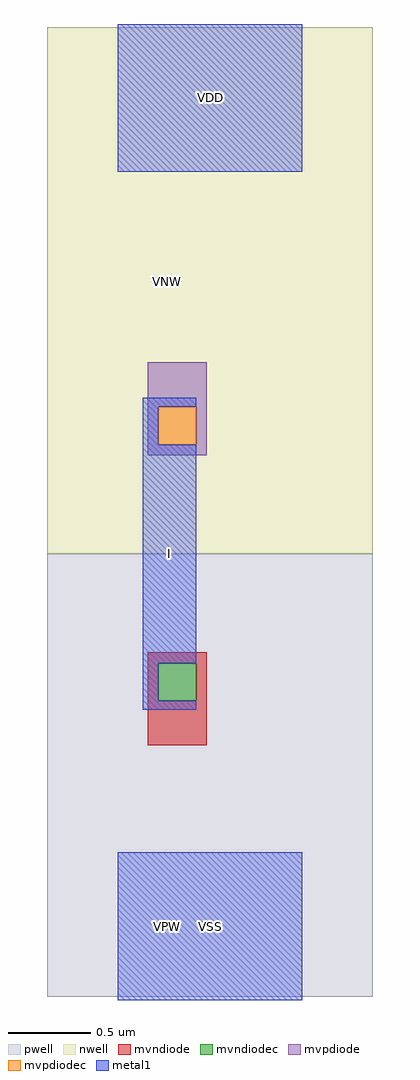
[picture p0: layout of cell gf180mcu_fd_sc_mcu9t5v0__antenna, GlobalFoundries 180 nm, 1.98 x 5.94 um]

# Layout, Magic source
magic
tech gf180mcuD
magscale 1 10
<< nwell >>
rect -86 453 310 1094
<< pwell >>
rect -86 -86 310 453
<< mvpdiode >>
rect 36 632 108 686
rect 36 586 49 632
rect 95 586 108 632
rect 36 573 108 586
<< mvndiode >>
rect 36 320 108 333
rect 36 274 49 320
rect 95 274 108 320
rect 36 220 108 274
<< mvpdiodec >>
rect 49 586 95 632
<< mvndiodec >>
rect 49 274 95 320
<< metal1 >>
rect 0 918 224 1098
rect 30 632 95 643
rect 30 586 49 632
rect 30 320 95 586
rect 30 274 49 320
rect 30 263 95 274
rect 0 -90 224 90
<< labels >>
flabel metal1 s 30 263 95 643 0 FreeSans 200 0 0 0 I
port 1 nsew default input
flabel metal1 s 0 918 224 1098 0 FreeSans 200 0 0 0 VDD
port 2 nsew power bidirectional abutment
flabel metal1 s 0 -90 224 90 0 FreeSans 200 0 0 0 VSS
port 5 nsew ground bidirectional abutment
flabel nwell s 10 734 110 834 0 FreeSans 400 0 0 0 VNW
port 3 nsew power bidirectional
flabel pwell s 10 -50 110 50 0 FreeSans 400 0 0 0 VPW
port 4 nsew ground bidirectional
<< properties >>
string FIXED_BBOX 0 0 224 1008
string GDS_END 1166894
string GDS_FILE $PDKPATH/libs.ref/gf180mcu_fd_sc_mcu9t5v0/gds/gf180mcu_fd_sc_mcu9t5v0.gds
string GDS_START 1165286
string LEFclass core ANTENNACELL
string LEFsite GF018hv5v_green_sc9
string LEFsymmetry X Y
string MASKHINTS_DUALGATE -56 734 280 1064 -56 525 -12 734 156 525 280 734 -56 381 280 525 -56 172 -12 381 156 172 280 381 -56 -56 280 172
string MASKHINTS_NPLUS -40 365 264 453 -40 188 4 365 140 188 264 365 -40 -40 264 188
string MASKHINTS_PPLUS -40 718 264 1048 -40 541 4 718 140 541 264 718 -40 453 264 541
<< end >>
